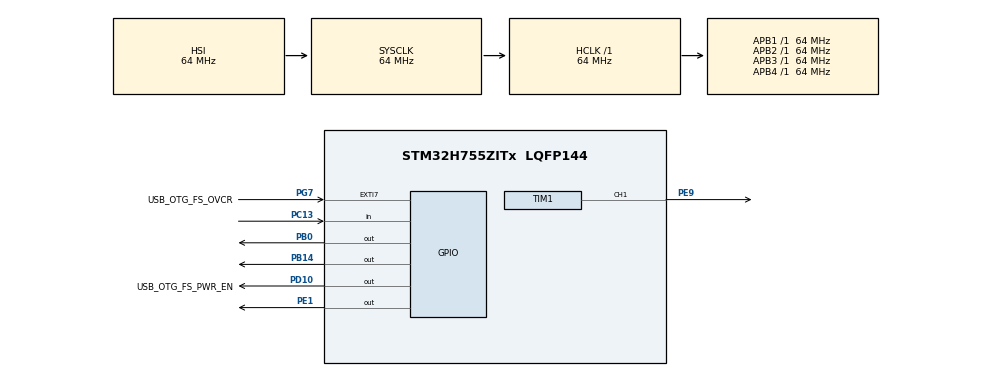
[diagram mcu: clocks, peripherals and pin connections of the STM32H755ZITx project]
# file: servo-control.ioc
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CortexM4.IPs=FATFS_M4\:I,FREERTOS_M4\:I,IWDG2\:I,RCC,WWDG2\:I,DMA,BDMA,MDMA,NVIC2\:I,ETH,USART3,DEBUG,PDM2PCM_M4\:I,PWR,RESMGR_UTILITY,SYS_M4\:I,USB_DEVICE_M4\:I,USB_HOST_M4\:I,CORTEX_M4\:I,GPIO,OPENAMP_M4\:I,VREFBUF,NUCLEO-H755ZI-Q
CortexM7.IPs=FATFS_M7\:I,FREERTOS_M7\:I,IWDG1\:I,RCC\:I,WWDG1\:I,DMA\:I,BDMA\:I,MDMA\:I,NVIC1\:I,ETH\:I,USART3\:I,USB_OTG_FS\:I,SYS\:I,CORTEX_M7\:I,DEBUG\:I,PDM2PCM_M7\:I,PWR\:I,RESMGR_UTILITY\:I,USB_DEVICE_M7\:I,USB_HOST_M7\:I,GPIO\:I,OPENAMP_M7\:I,VREFBUF\:I,NUCLEO-H755ZI-Q\:I,MEMORYMAP\:I,TIM1\:I
Mcu.Family=STM32H7
Mcu.Name=STM32H755ZITx
Mcu.Package=LQFP144
NUCLEO-H755ZI-Q.BUTTON=1
NUCLEO-H755ZI-Q.LD1=true
NUCLEO-H755ZI-Q.LD2=true
NUCLEO-H755ZI-Q.LD3=true
NUCLEO-H755ZI-Q.VCP=true
NVIC1.EXTI15_10_IRQn=true\:0\:0\:false\:false\:true\:false\:true\:true
NVIC1.PriorityGroup=NVIC_PRIORITYGROUP_4
NVIC2.PriorityGroup=NVIC_PRIORITYGROUP_4
PA1.PinAttribute=CortexM7
PA1.Signal=ETH_REF_CLK
PA11.PinAttribute=CortexM7
PA11.Signal=USB_OTG_FS_DM
PA12.PinAttribute=CortexM7
PA12.Signal=USB_OTG_FS_DP
PA2.PinAttribute=CortexM7
PA2.Signal=ETH_MDIO
PA7.PinAttribute=CortexM7
PA7.Signal=ETH_CRS_DV
PA8.PinAttribute=CortexM7
PA8.Signal=USB_OTG_FS_SOF
PA9.PinAttribute=CortexM7
PA9.Signal=USB_OTG_FS_VBUS
PB0.Signal=GPIO_Output
PB13.PinAttribute=CortexM7
PB13.Signal=ETH_TXD1
PB14.Signal=GPIO_Output
PC1.PinAttribute=CortexM7
PC1.Signal=ETH_MDC
PC13.Signal=GPIO_Input
PC14-OSC32_IN\ (OSC32_IN).PinAttribute=Free
PC14-OSC32_IN\ (OSC32_IN).Signal=RCC_OSC32_IN
PC15-OSC32_OUT\ (OSC32_OUT).PinAttribute=Free
PC15-OSC32_OUT\ (OSC32_OUT).Signal=RCC_OSC32_OUT
PC4.PinAttribute=CortexM7
PC4.Signal=ETH_RXD0
PC5.PinAttribute=CortexM7
PC5.Signal=ETH_RXD1
PD10.GPIO_Label=USB_OTG_FS_PWR_EN
PD10.PinAttribute=Free
PD10.Signal=GPIO_Output
PD8.Signal=USART3_TX
PD9.Signal=USART3_RX
PE1.Signal=GPIO_Output
PE9.PinAttribute=CortexM7
PE9.Signal=S_TIM1_CH1
PG11.PinAttribute=CortexM7
PG11.Signal=ETH_TX_EN
PG13.PinAttribute=CortexM7
PG13.Signal=ETH_TXD0
PG7.GPIO_Label=USB_OTG_FS_OVCR
PG7.PinAttribute=Free
PG7.Signal=GPXTI7
PH0-OSC_IN\ (PH0).PinAttribute=Free
PH0-OSC_IN\ (PH0).Signal=RCC_OSC_IN
PH1-OSC_OUT\ (PH1).PinAttribute=Free
PH1-OSC_OUT\ (PH1).Signal=RCC_OSC_OUT
ProjectManager.HeapSize=M4-0x200,M7-0x200
ProjectManager.StackSize=M4-0x400,M7-0x400
ProjectManager.TargetToolchain=STM32CubeIDE
RCC.ADCFreq_Value=129000000
RCC.APB1Freq_Value=64000000
RCC.APB2Freq_Value=64000000
RCC.APB3Freq_Value=64000000
RCC.APB4Freq_Value=64000000
RCC.CortexFreq_Value=64000000
RCC.DIVM1=5
RCC.DIVN1=48
RCC.DIVQ1=5
RCC.HCLKFreq_Value=64000000
RCC.PLL2FRACN=0
RCC.PLL3FRACN=0
RCC.PLLFRACN=0
RCC.SYSCLKFreq_VALUE=64000000
RCC.SupplySource=PWR_DIRECT_SMPS_SUPPLY
RCC.USBFreq_Value=122880000
SH.S_TIM1_CH1.0=TIM1_CH1,PWM Generation1 CH1
TIM1.Channel-PWM\ Generation1\ CH1=TIM_CHANNEL_1
TIM1.Period=9999
VP_MEMORYMAP_VS_MEMORYMAP.Mode=CurAppReg
VP_NUCLEO-H755ZI-Q_VS_BSP_COMMON.Mode=COMMON
VP_SYS_M4_VS_Systick.Mode=SysTick
board=NUCLEO-H755ZI-Q

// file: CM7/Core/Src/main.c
/* USER CODE BEGIN Header */
/**
  ******************************************************************************
  * @file           : main.c
  * @brief          : Main program body
  ******************************************************************************
  * @attention
  *
  * Copyright (c) 2025 STMicroelectronics.
  * All rights reserved.
  *
  * This software is licensed under terms that can be found in the LICENSE file
  * in the root directory of this software component.
  * If no LICENSE file comes with this software, it is provided AS-IS.
  *
  ******************************************************************************
  */
/* USER CODE END Header */
#include "main.h"

/* USER CODE BEGIN PD */

/* DUAL_CORE_BOOT_SYNC_SEQUENCE: Define for dual core boot synchronization    */
/*                             demonstration code based on hardware semaphore */
/* This define is present in both CM7/CM4 projects                            */
/* To comment when developping/debugging on a single core                     */
#define DUAL_CORE_BOOT_SYNC_SEQUENCE

#if defined(DUAL_CORE_BOOT_SYNC_SEQUENCE)
#ifndef HSEM_ID_0
#define HSEM_ID_0 (0U) /* HW semaphore 0*/
#endif
#endif /* DUAL_CORE_BOOT_SYNC_SEQUENCE */

/* USER CODE END PD */

COM_InitTypeDef BspCOMInit;

TIM_HandleTypeDef htim1;

void SystemClock_Config(void);
static void MX_GPIO_Init(void);
static void MX_TIM1_Init(void);

/* USER CODE BEGIN 0 */

// Sets duty cycle in terms of servo angles (300 degrees -> 100%)
// assume 3 degrees / pct
static void set_servo_angle(double angle) {
	return set_duty(angle / 3.00f);
}

// Sets duty cycle of PWM in %
static void set_duty(double pct) {
	if (pct < 0) pct = 0;
	else if (pct > 100) pct = 100;

	__HAL_TIM_SET_COMPARE(&htim1, TIM_CHANNEL_1, (uint32_t)(pct * 99.99f)); // 9999/100%
}
/* USER CODE END 0 */

int main(void)
{

/* USER CODE BEGIN Boot_Mode_Sequence_0 */
#if defined(DUAL_CORE_BOOT_SYNC_SEQUENCE)
  int32_t timeout;
#endif /* DUAL_CORE_BOOT_SYNC_SEQUENCE */
/* USER CODE END Boot_Mode_Sequence_0 */

/* USER CODE BEGIN Boot_Mode_Sequence_1 */
#if defined(DUAL_CORE_BOOT_SYNC_SEQUENCE)
  /* Wait until CPU2 boots and enters in stop mode or timeout*/
  timeout = 0xFFFF;
  while((__HAL_RCC_GET_FLAG(RCC_FLAG_D2CKRDY) != RESET) && (timeout-- > 0));
  if ( timeout < 0 )
  {
  Error_Handler();
  }
#endif /* DUAL_CORE_BOOT_SYNC_SEQUENCE */
/* USER CODE END Boot_Mode_Sequence_1 */
  /* MCU Configuration--------------------------------------------------------*/

  /* Reset of all peripherals, Initializes the Flash interface and the Systick. */
  HAL_Init();

  /* Configure the system clock */
  SystemClock_Config();
/* USER CODE BEGIN Boot_Mode_Sequence_2 */
#if defined(DUAL_CORE_BOOT_SYNC_SEQUENCE)
/* When system initialization is finished, Cortex-M7 will release Cortex-M4 by means of
HSEM notification */
/*HW semaphore Clock enable*/
__HAL_RCC_HSEM_CLK_ENABLE();
/*Take HSEM */
HAL_HSEM_FastTake(HSEM_ID_0);
/*Release HSEM in order to notify the CPU2(CM4)*/
HAL_HSEM_Release(HSEM_ID_0,0);
/* wait until CPU2 wakes up from stop mode */
timeout = 0xFFFF;
while((__HAL_RCC_GET_FLAG(RCC_FLAG_D2CKRDY) == RESET) && (timeout-- > 0));
if ( timeout < 0 )
{
Error_Handler();
}
#endif /* DUAL_CORE_BOOT_SYNC_SEQUENCE */
/* USER CODE END Boot_Mode_Sequence_2 */

  /* Initialize all configured peripherals */
  MX_GPIO_Init();
  MX_TIM1_Init();
  /* USER CODE BEGIN 2 */

  // Start PWM on TIM1 Channel 1
  HAL_TIM_PWM_Start(&htim2, TIM_CHANNEL_1);

  // Initialize with 0% duty cycle (off)
  __HAL_TIM_SET_COMPARE(&htim1, TIM_CHANNEL_1, 0);
  /* USER CODE END 2 */

  /* Initialize leds */
  BSP_LED_Init(LED_GREEN);
  BSP_LED_Init(LED_YELLOW);
  BSP_LED_Init(LED_RED);

  /* Initialize USER push-button, will be used to trigger an interrupt each time it's pressed.*/
  BSP_PB_Init(BUTTON_USER, BUTTON_MODE_EXTI);

  /* Initialize COM1 port (115200, 8 bits (7-bit data + 1 stop bit), no parity */
  BspCOMInit.BaudRate   = 115200;
  BspCOMInit.WordLength = COM_WORDLENGTH_8B;
  BspCOMInit.StopBits   = COM_STOPBITS_1;
  BspCOMInit.Parity     = COM_PARITY_NONE;
  BspCOMInit.HwFlowCtl  = COM_HWCONTROL_NONE;
  if (BSP_COM_Init(COM1, &BspCOMInit) != BSP_ERROR_NONE)
  {
    Error_Handler();
  }

  /* Infinite loop */
  /* USER CODE BEGIN WHILE */
  while (1)
  {
	// Sweep servo angles
	for (int angle = 0; angle <= 300; angle += 30) {
		set_servo_angle(angle);
		HAL_Delay(1000); // 1 second
	}

	for (int angle = 300; angle >= 0; angle -= 30) {
		set_servo_angle(angle);
		HAL_Delay(1000);
	}

    /* USER CODE END WHILE */

  }
}

void SystemClock_Config(void)
{
  RCC_OscInitTypeDef RCC_OscInitStruct = {0};
  RCC_ClkInitTypeDef RCC_ClkInitStruct = {0};

  /** Supply configuration update enable
  */
  HAL_PWREx_ConfigSupply(PWR_DIRECT_SMPS_SUPPLY);

  /** Configure the main internal regulator output voltage
  */
  __HAL_PWR_VOLTAGESCALING_CONFIG(PWR_REGULATOR_VOLTAGE_SCALE3);

  while(!__HAL_PWR_GET_FLAG(PWR_FLAG_VOSRDY)) {}

  /** Initializes the RCC Oscillators according to the specified parameters
  * in the RCC_OscInitTypeDef structure.
  */
  RCC_OscInitStruct.OscillatorType = RCC_OSCILLATORTYPE_HSI;
  RCC_OscInitStruct.HSIState = RCC_HSI_DIV1;
  RCC_OscInitStruct.HSICalibrationValue = RCC_HSICALIBRATION_DEFAULT;
  RCC_OscInitStruct.PLL.PLLState = RCC_PLL_NONE;
  if (HAL_RCC_OscConfig(&RCC_OscInitStruct) != HAL_OK)
  {
    Error_Handler();
  }

  /** Initializes the CPU, AHB and APB buses clocks
  */
  RCC_ClkInitStruct.ClockType = RCC_CLOCKTYPE_HCLK|RCC_CLOCKTYPE_SYSCLK
                              |RCC_CLOCKTYPE_PCLK1|RCC_CLOCKTYPE_PCLK2
                              |RCC_CLOCKTYPE_D3PCLK1|RCC_CLOCKTYPE_D1PCLK1;
  RCC_ClkInitStruct.SYSCLKSource = RCC_SYSCLKSOURCE_HSI;
  RCC_ClkInitStruct.SYSCLKDivider = RCC_SYSCLK_DIV1;
  RCC_ClkInitStruct.AHBCLKDivider = RCC_HCLK_DIV1;
  RCC_ClkInitStruct.APB3CLKDivider = RCC_APB3_DIV1;
  RCC_ClkInitStruct.APB1CLKDivider = RCC_APB1_DIV1;
  RCC_ClkInitStruct.APB2CLKDivider = RCC_APB2_DIV1;
  RCC_ClkInitStruct.APB4CLKDivider = RCC_APB4_DIV1;

  if (HAL_RCC_ClockConfig(&RCC_ClkInitStruct, FLASH_LATENCY_1) != HAL_OK)
  {
    Error_Handler();
  }
}

static void MX_TIM1_Init(void)
{

  TIM_MasterConfigTypeDef sMasterConfig = {0};
  TIM_OC_InitTypeDef sConfigOC = {0};
  TIM_BreakDeadTimeConfigTypeDef sBreakDeadTimeConfig = {0};

  htim1.Instance = TIM1;
  htim1.Init.Prescaler = 0;
  htim1.Init.CounterMode = TIM_COUNTERMODE_UP;
  htim1.Init.Period = 9999;
  htim1.Init.ClockDivision = TIM_CLOCKDIVISION_DIV1;
  htim1.Init.RepetitionCounter = 0;
  htim1.Init.AutoReloadPreload = TIM_AUTORELOAD_PRELOAD_DISABLE;
  if (HAL_TIM_PWM_Init(&htim1) != HAL_OK)
  {
    Error_Handler();
  }
  sMasterConfig.MasterOutputTrigger = TIM_TRGO_RESET;
  sMasterConfig.MasterOutputTrigger2 = TIM_TRGO2_RESET;
  sMasterConfig.MasterSlaveMode = TIM_MASTERSLAVEMODE_DISABLE;
  if (HAL_TIMEx_MasterConfigSynchronization(&htim1, &sMasterConfig) != HAL_OK)
  {
    Error_Handler();
  }
  sConfigOC.OCMode = TIM_OCMODE_PWM1;
  sConfigOC.Pulse = 0;
  sConfigOC.OCPolarity = TIM_OCPOLARITY_HIGH;
  sConfigOC.OCNPolarity = TIM_OCNPOLARITY_HIGH;
  sConfigOC.OCFastMode = TIM_OCFAST_DISABLE;
  sConfigOC.OCIdleState = TIM_OCIDLESTATE_RESET;
  sConfigOC.OCNIdleState = TIM_OCNIDLESTATE_RESET;
  if (HAL_TIM_PWM_ConfigChannel(&htim1, &sConfigOC, TIM_CHANNEL_1) != HAL_OK)
  {
    Error_Handler();
  }
  sBreakDeadTimeConfig.OffStateRunMode = TIM_OSSR_DISABLE;
  sBreakDeadTimeConfig.OffStateIDLEMode = TIM_OSSI_DISABLE;
  sBreakDeadTimeConfig.LockLevel = TIM_LOCKLEVEL_OFF;
  sBreakDeadTimeConfig.DeadTime = 0;
  sBreakDeadTimeConfig.BreakState = TIM_BREAK_DISABLE;
  sBreakDeadTimeConfig.BreakPolarity = TIM_BREAKPOLARITY_HIGH;
  sBreakDeadTimeConfig.BreakFilter = 0;
  sBreakDeadTimeConfig.Break2State = TIM_BREAK2_DISABLE;
  sBreakDeadTimeConfig.Break2Polarity = TIM_BREAK2POLARITY_HIGH;
  sBreakDeadTimeConfig.Break2Filter = 0;
  sBreakDeadTimeConfig.AutomaticOutput = TIM_AUTOMATICOUTPUT_DISABLE;
  if (HAL_TIMEx_ConfigBreakDeadTime(&htim1, &sBreakDeadTimeConfig) != HAL_OK)
  {
    Error_Handler();
  }
  HAL_TIM_MspPostInit(&htim1);

}

static void MX_GPIO_Init(void)
{
  GPIO_InitTypeDef GPIO_InitStruct = {0};

  /* GPIO Ports Clock Enable */
  __HAL_RCC_GPIOC_CLK_ENABLE();
  __HAL_RCC_GPIOA_CLK_ENABLE();
  __HAL_RCC_GPIOE_CLK_ENABLE();
  __HAL_RCC_GPIOB_CLK_ENABLE();
  __HAL_RCC_GPIOG_CLK_ENABLE();

  /*Configure GPIO pins : PC1 PC4 PC5 */
  GPIO_InitStruct.Pin = GPIO_PIN_1|GPIO_PIN_4|GPIO_PIN_5;
  GPIO_InitStruct.Mode = GPIO_MODE_AF_PP;
  GPIO_InitStruct.Pull = GPIO_NOPULL;
  GPIO_InitStruct.Speed = GPIO_SPEED_FREQ_LOW;
  GPIO_InitStruct.Alternate = GPIO_AF11_ETH;
  HAL_GPIO_Init(GPIOC, &GPIO_InitStruct);

  /*Configure GPIO pins : PA1 PA2 PA7 */
  GPIO_InitStruct.Pin = GPIO_PIN_1|GPIO_PIN_2|GPIO_PIN_7;
  GPIO_InitStruct.Mode = GPIO_MODE_AF_PP;
  GPIO_InitStruct.Pull = GPIO_NOPULL;
  GPIO_InitStruct.Speed = GPIO_SPEED_FREQ_LOW;
  GPIO_InitStruct.Alternate = GPIO_AF11_ETH;
  HAL_GPIO_Init(GPIOA, &GPIO_InitStruct);

  /*Configure GPIO pin : PB13 */
  GPIO_InitStruct.Pin = GPIO_PIN_13;
  GPIO_InitStruct.Mode = GPIO_MODE_AF_PP;
  GPIO_InitStruct.Pull = GPIO_NOPULL;
  GPIO_InitStruct.Speed = GPIO_SPEED_FREQ_LOW;
  GPIO_InitStruct.Alternate = GPIO_AF11_ETH;
  HAL_GPIO_Init(GPIOB, &GPIO_InitStruct);

  /*Configure GPIO pins : PA8 PA11 PA12 */
  GPIO_InitStruct.Pin = GPIO_PIN_8|GPIO_PIN_11|GPIO_PIN_12;
  GPIO_InitStruct.Mode = GPIO_MODE_AF_PP;
  GPIO_InitStruct.Pull = GPIO_NOPULL;
  GPIO_InitStruct.Speed = GPIO_SPEED_FREQ_LOW;
  GPIO_InitStruct.Alternate = GPIO_AF10_OTG1_FS;
  HAL_GPIO_Init(GPIOA, &GPIO_InitStruct);

  /*Configure GPIO pins : PG11 PG13 */
  GPIO_InitStruct.Pin = GPIO_PIN_11|GPIO_PIN_13;
  GPIO_InitStruct.Mode = GPIO_MODE_AF_PP;
  GPIO_InitStruct.Pull = GPIO_NOPULL;
  GPIO_InitStruct.Speed = GPIO_SPEED_FREQ_LOW;
  GPIO_InitStruct.Alternate = GPIO_AF11_ETH;
  HAL_GPIO_Init(GPIOG, &GPIO_InitStruct);

}

void Error_Handler(void)
{
  __disable_irq();
  while (1)
  {
  }
}
